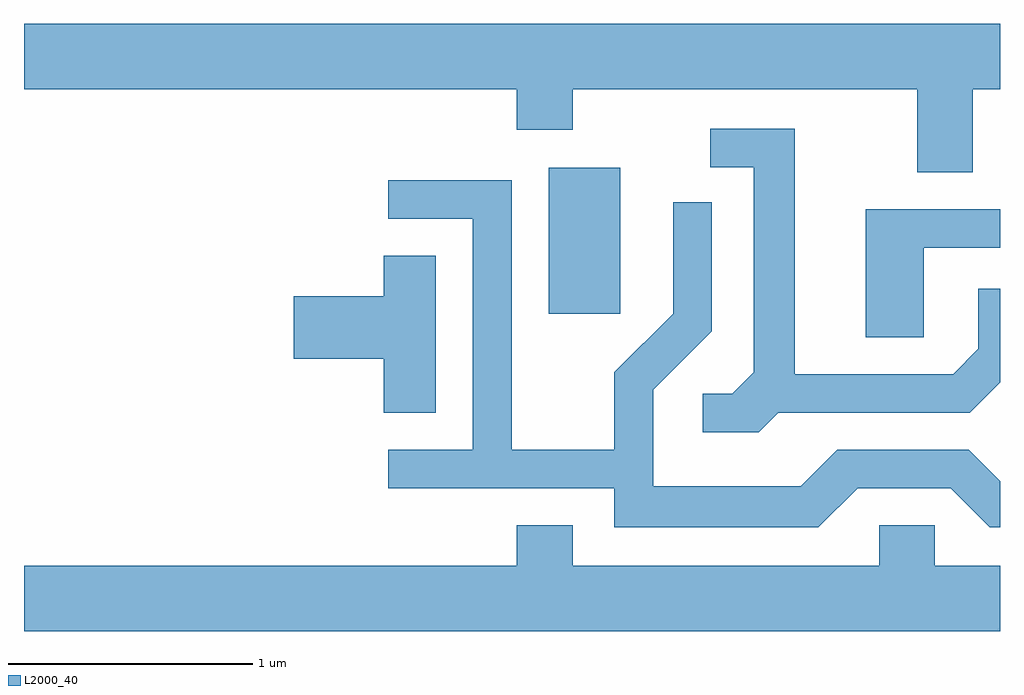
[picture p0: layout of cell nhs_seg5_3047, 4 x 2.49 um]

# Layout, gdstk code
import gdstk
lib = gdstk.Library(unit=1e-6, precision=1e-09)
def R(c, l, rs):  # rectangles x0, y0, x1, y1
    for r in rs: c.add(gdstk.rectangle(r[:2], r[2:], *l))
def P(c, l, *ps):  # polygons
    for p in ps: c.add(gdstk.Polygon(p, *l))
L2000_40 = (2000, 40)

nhs_seg5_3047 = lib.new_cell('nhs_seg5_3047')
R(nhs_seg5_3047, L2000_40, [(277.761,1462.536,278.054,1463.134)])
P(nhs_seg5_3047, L2000_40, [(279.499,1463.456),(279.611,1463.456),(279.611,1463.724),(275.611,1463.724),(275.611,1463.456),(277.631,1463.456),(277.631,1463.291),(277.859,1463.291),(277.859,1463.456),(279.271,1463.456),(279.271,1463.116),(279.499,1463.116)],
  [(278.702,1462.131),(279.487,1462.131),(279.611,1462.256),(279.611,1462.638),(279.521,1462.638),(279.521,1462.392),(279.419,1462.289),(278.769,1462.289),(278.769,1463.294),(278.423,1463.294),(278.423,1463.136),(278.601,1463.136),(278.601,1462.297),(278.514,1462.209),(278.393,1462.209),(278.393,1462.051),(278.622,1462.051)],
  [(279.027,1461.821),(279.409,1461.821),(279.569,1461.661),(279.611,1461.661),(279.611,1461.85),(279.482,1461.979),(278.944,1461.979),(278.794,1461.829),(278.189,1461.829),(278.189,1462.224),(278.429,1462.464),(278.429,1462.993),(278.271,1462.993),(278.271,1462.537),(278.031,1462.297),(278.031,1461.979),(277.609,1461.979),(277.609,1463.084),(277.103,1463.084),(277.103,1462.926),(277.451,1462.926),(277.451,1461.979),(277.103,1461.979),(277.103,1461.821),(278.031,1461.821),(278.031,1461.661),(278.867,1461.661)],
  [(279.299,1462.806),(279.611,1462.806),(279.611,1462.964),(279.061,1462.964),(279.061,1462.441),(279.299,1462.441)],
  [(277.299,1462.774),(277.086,1462.774),(277.086,1462.609),(276.716,1462.609),(276.716,1462.351),(277.086,1462.351),(277.086,1462.131),(277.299,1462.131)],
  [(279.611,1461.504),(279.344,1461.504),(279.344,1461.669),(279.116,1461.669),(279.116,1461.504),(277.859,1461.504),(277.859,1461.669),(277.631,1461.669),(277.631,1461.504),(275.611,1461.504),(275.611,1461.236),(279.611,1461.236)])

lib.write_gds('nhs_seg5_3047.gds')
